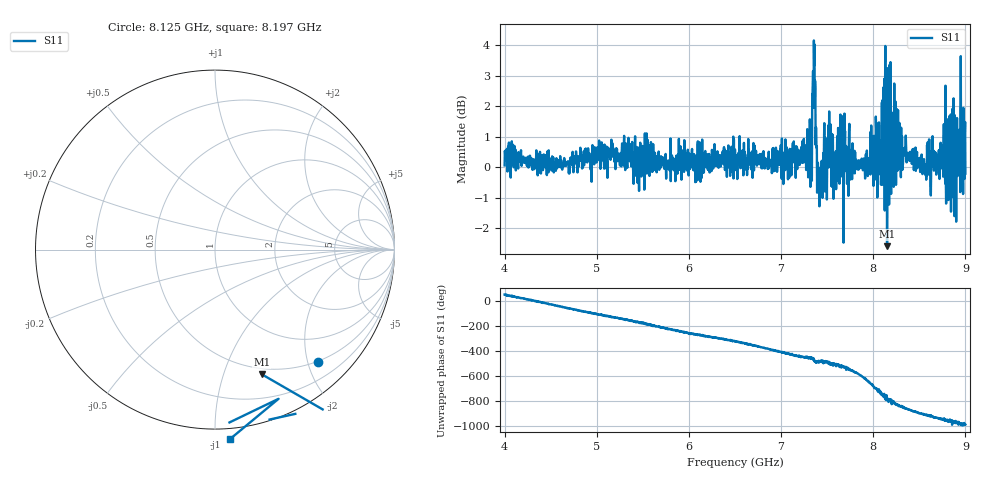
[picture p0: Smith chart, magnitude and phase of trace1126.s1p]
! Created with skrf 1.8.0 (http://scikit-rf.org).
# Hz S RI R 50.0
!freq ReS11 ImS11
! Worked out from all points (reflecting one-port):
!   1601 points, 4 GHz to 9 GHz, reference 50 ohm
!   lowest |S11| = -2.6 dB at 8.15 GHz (marker M1), VSWR 6.75, Z = 21.8 - j67.5 ohm
!   phase of S11 starts at 53 deg and turns -1041 deg over the sweep
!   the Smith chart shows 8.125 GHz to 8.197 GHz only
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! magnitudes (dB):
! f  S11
! 4 GHz  0.1
! 4.625 GHz  -0.1
! 5.25 GHz  0.1
! 5.875 GHz  -0.2
! 6.5 GHz  0.6
! 7.125 GHz  0.6
! 7.309 GHz  0.3
! 7.347 GHz  3.1
! 7.362 GHz  4.0
! 7.4 GHz  0.1
! 7.416 GHz  -1.3
! 7.538 GHz  1.4
! 7.591 GHz  0.4
! 7.669 GHz  1.4
! 7.75 GHz  0.2
! 8.066 GHz  0.1
! 8.106 GHz  -0.5
! 8.15 GHz  -2.6
! 8.178 GHz  3.4
! 8.216 GHz  1.8
! 8.253 GHz  1.4
! 8.312 GHz  1.0
! 8.375 GHz  0.4
! 8.556 GHz  -0.2
! 8.834 GHz  1.5
! 8.906 GHz  0.4
! 8.972 GHz  0.6
! 9 GHz  -0.2
